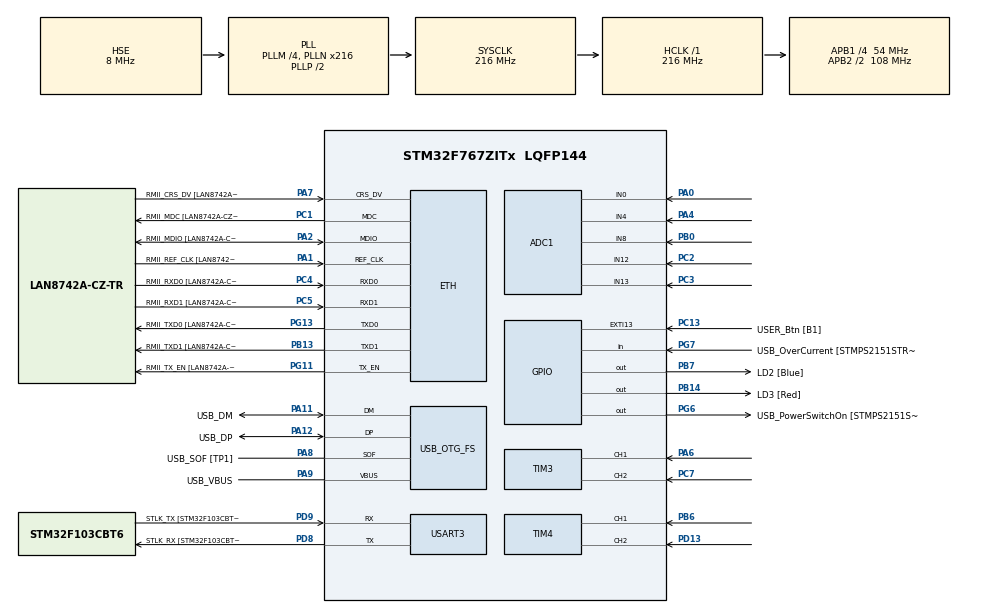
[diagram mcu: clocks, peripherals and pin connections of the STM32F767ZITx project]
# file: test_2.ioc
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ADC1.Channel-1\#ChannelRegularConversion=ADC_CHANNEL_0
ADC1.InjNumberOfConversion=0
ADC1.NbrOfConversionFlag=1
ADC1.Rank-1\#ChannelRegularConversion=1
ADC1.SamplingTime-1\#ChannelRegularConversion=ADC_SAMPLETIME_3CYCLES
ADC1.master=1
CORTEX_M7.default_mode_Activation=1
ETH.MediaInterface=HAL_ETH_RMII_MODE
ETH.PHY_Name=LAN8742A_PHY_ADDRESS
ETH.PHY_Value=0
ETH.PhyAddress=0
LWIP.BSP.number=1
LWIP.IP_ADDRESS=192.168.001.100
LWIP.LWIP_DHCP=0
LWIP.MEM_SIZE=10240
LWIP.NETMASK_ADDRESS=255.255.255.000
LWIP.TCP_SND_BUF=2048
LWIP.TCP_WND=2048
LWIP.Version=v2.1.2_Cube
LWIP0.BSP.STBoard=false
LWIP0.BSP.api=BSP_COMPONENT_DRIVER
LWIP0.BSP.component=LAN8742
LWIP0.BSP.instance=LAN8742
LWIP0.BSP.name=Driver_PHY
LWIP0.BSP.semaphore=S_LAN8742
LWIP0.BSP.solution=LAN8742
Mcu.Family=STM32F7
Mcu.Name=STM32F767ZITx
Mcu.Package=LQFP144
NVIC.PriorityGroup=NVIC_PRIORITYGROUP_4
PA0/WKUP.Signal=ADCx_IN0
PA1.GPIO_Label=RMII_REF_CLK [LAN8742A-CZ-TR_REFCLK0]
PA1.Mode=RMII
PA1.Signal=ETH_REF_CLK
PA10.GPIO_Label=USB_ID
PA10.Signal=USB_OTG_FS_ID
PA11.GPIO_Label=USB_DM
PA11.Mode=Device_Only
PA11.Signal=USB_OTG_FS_DM
PA12.GPIO_Label=USB_DP
PA12.Mode=Device_Only
PA12.Signal=USB_OTG_FS_DP
PA13.GPIO_Label=TMS
PA13.Mode=Serial_Wire
PA13.Signal=SYS_JTMS-SWDIO
PA14.GPIO_Label=TCK
PA14.Mode=Serial_Wire
PA14.Signal=SYS_JTCK-SWCLK
PA2.GPIO_Label=RMII_MDIO [LAN8742A-CZ-TR_MDIO]
PA2.Mode=RMII
PA2.Signal=ETH_MDIO
PA4.Signal=ADCx_IN4
PA6.GPIO_PuPd=GPIO_PULLUP
PA6.Signal=S_TIM3_CH1
PA7.GPIO_Label=RMII_CRS_DV [LAN8742A-CZ-TR_CRS_DV]
PA7.Mode=RMII
PA7.Signal=ETH_CRS_DV
PA8.GPIO_Label=USB_SOF [TP1]
PA8.Mode=Activate_SOF_FS
PA8.Signal=USB_OTG_FS_SOF
PA9.GPIO_Label=USB_VBUS
PA9.Mode=Activate_VBUS
PA9.Signal=USB_OTG_FS_VBUS
PB0.Signal=ADCx_IN8
PB13.GPIO_Label=RMII_TXD1 [LAN8742A-CZ-TR_TXD1]
PB13.Mode=RMII
PB13.Signal=ETH_TXD1
PB14.GPIO_Label=LD3 [Red]
PB14.Signal=GPIO_Output
PB3.GPIO_Label=SWO
PB3.Signal=SYS_JTDO-SWO
PB6.GPIO_PuPd=GPIO_PULLUP
PB6.Signal=S_TIM4_CH1
PB7.GPIO_Label=LD2 [Blue]
PB7.Signal=GPIO_Output
PC1.GPIO_Label=RMII_MDC [LAN8742A-CZ-TR_MDC]
PC1.Mode=RMII
PC1.Signal=ETH_MDC
PC13.GPIO_Label=USER_Btn [B1]
PC13.Signal=GPXTI13
PC14/OSC32_IN.Mode=LSE-External-Oscillator
PC14/OSC32_IN.Signal=RCC_OSC32_IN
PC15/OSC32_OUT.Mode=LSE-External-Oscillator
PC15/OSC32_OUT.Signal=RCC_OSC32_OUT
PC2.Signal=ADCx_IN12
PC3.Signal=ADCx_IN13
PC4.GPIO_Label=RMII_RXD0 [LAN8742A-CZ-TR_RXD0]
PC4.Mode=RMII
PC4.Signal=ETH_RXD0
PC5.GPIO_Label=RMII_RXD1 [LAN8742A-CZ-TR_RXD1]
PC5.Mode=RMII
PC5.Signal=ETH_RXD1
PC7.GPIO_PuPd=GPIO_PULLUP
PC7.Signal=S_TIM3_CH2
PD13.GPIO_PuPd=GPIO_PULLUP
PD13.Signal=S_TIM4_CH2
PD8.GPIO_Label=STLK_RX [STM32F103CBT6_PA3]
PD8.Mode=Asynchronous
PD8.Signal=USART3_TX
PD9.GPIO_Label=STLK_TX [STM32F103CBT6_PA2]
PD9.Mode=Asynchronous
PD9.Signal=USART3_RX
PG11.GPIO_Label=RMII_TX_EN [LAN8742A-CZ-TR_TXEN]
PG11.Mode=RMII
PG11.Signal=ETH_TX_EN
PG13.GPIO_Label=RMII_TXD0 [LAN8742A-CZ-TR_TXD0]
PG13.Mode=RMII
PG13.Signal=ETH_TXD0
PG6.GPIO_Label=USB_PowerSwitchOn [STMPS2151STR_EN]
PG6.Signal=GPIO_Output
PG7.GPIO_Label=USB_OverCurrent [STMPS2151STR_FAULT]
PG7.Signal=GPIO_Input
PH0/OSC_IN.GPIO_Label=MCO [STM32F103CBT6_PA8]
PH0/OSC_IN.Mode=HSE-External-Clock-Source
PH0/OSC_IN.Signal=RCC_OSC_IN
PH1/OSC_OUT.Mode=HSE-External-Clock-Source
PH1/OSC_OUT.Signal=RCC_OSC_OUT
ProjectManager.HeapSize=0x200
ProjectManager.StackSize=0x400
ProjectManager.TargetToolchain=STM32CubeIDE
RCC.48MHZClocksFreq_Value=24000000
RCC.AHBFreq_Value=216000000
RCC.APB1CLKDivider=RCC_HCLK_DIV4
RCC.APB1Freq_Value=54000000
RCC.APB1TimFreq_Value=108000000
RCC.APB2CLKDivider=RCC_HCLK_DIV2
RCC.APB2Freq_Value=108000000
RCC.APB2TimFreq_Value=216000000
RCC.CortexFreq_Value=216000000
RCC.HCLKFreq_Value=216000000
RCC.HSE_VALUE=8000000
RCC.HSI_VALUE=16000000
RCC.PLLM=4
RCC.PLLMUL=RCC_PLL_MUL9
RCC.PLLN=216
RCC.PLLQ=9
RCC.PRESCALERUSB=RCC_USBCLKSOURCE_PLL_DIV1_5
RCC.SYSCLKFreq_VALUE=216000000
RCC.SYSCLKSource=RCC_SYSCLKSOURCE_PLLCLK
RCC.SYSCLKSourceVirtual=RCC_SYSCLKSOURCE_PLLCLK
RCC.USBFreq_Value=48000000
RCC.VCOOutputFreq_Value=432000000
SH.ADCx_IN0.0=ADC1_IN0,IN0
SH.ADCx_IN12.0=ADC1_IN12,IN12
SH.ADCx_IN13.0=ADC1_IN13,IN13
SH.ADCx_IN4.0=ADC1_IN4,IN4
SH.ADCx_IN8.0=ADC1_IN8,IN8
SH.S_TIM3_CH1.0=TIM3_CH1,Encoder_Interface
SH.S_TIM3_CH2.0=TIM3_CH2,Encoder_Interface
SH.S_TIM4_CH1.0=TIM4_CH1,Encoder_Interface
SH.S_TIM4_CH2.0=TIM4_CH2,Encoder_Interface
TIM3.EncoderMode=TIM_ENCODERMODE_TI12
TIM4.EncoderMode=TIM_ENCODERMODE_TI12
USART3.VirtualMode-Asynchronous=VM_ASYNC
USB_OTG_FS.VirtualMode=Device_Only
VP_LWIP_VS_Enabled.Mode=Enabled
board=NUCLEO-F767ZI

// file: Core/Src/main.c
/* USER CODE BEGIN Header */
/**
  ******************************************************************************
  * @file           : main.c
  * @brief          : Main program body
  ******************************************************************************
  * @attention
  *
  * Copyright (c) 2026 STMicroelectronics.
  * All rights reserved.
  *
  * This software is licensed under terms that can be found in the LICENSE file
  * in the root directory of this software component.
  * If no LICENSE file comes with this software, it is provided AS-IS.
  *
  ******************************************************************************
  */
/* USER CODE END Header */
#include "main.h"
#include "lwip.h"

/* USER CODE BEGIN Includes */

#include "udp_server.h"

/* USER CODE END Includes */

ADC_HandleTypeDef hadc1;

TIM_HandleTypeDef htim3;
TIM_HandleTypeDef htim4;

UART_HandleTypeDef huart3;

PCD_HandleTypeDef hpcd_USB_OTG_FS;

/* USER CODE BEGIN PV */

volatile int32_t encoder_position = 0; //right stick
static uint32_t last_tick_ms = 0;
static uint16_t last_timer = 0;

volatile int32_t encoder2_position = 0;     // left stick (TIM4)
static uint16_t last_timer2 = 0;

volatile int32_t accelerator_position = 0;
volatile int32_t brake_position = 0;
volatile int32_t clutch_position = 0;

static uint32_t accel_filtered = 0;
static uint32_t brake_filtered = 0;
static uint32_t clutch_filtered = 0;

static uint8_t accel_filter_init = 0;
static uint8_t brake_filter_init = 0;
static uint8_t clutch_filter_init = 0;

/* Adjust these raw ADC values to your actual hardware pedal endpoints */
#define ACCEL_ADC_MIN   3740
#define ACCEL_ADC_MAX   260

#define BRAKE_ADC_MIN   3720
#define BRAKE_ADC_MAX   1150

#define CLUTCH_ADC_MIN  3720
#define CLUTCH_ADC_MAX  300

/* Tiller calibration — placeholder values, replace after calibration */
#define RIGHT_STICK_MIN   0
#define RIGHT_STICK_MAX   480

#define LEFT_STICK_MIN    0
#define LEFT_STICK_MAX    -480

/* Final scaled values sent over UDP */
volatile float right_stick_scaled = 0.0f;
volatile float left_stick_scaled  = 0.0f;
volatile float accelerator_scaled = 0.0f;
volatile float brake_scaled = 0.0f;
volatile float clutch_scaled = 0.0f;

volatile int32_t gearbox_x = 0;   // back pot — left/right column
volatile int32_t gearbox_y = 0;   // side pot — front/back row

static uint32_t x_filtered = 0;
static uint32_t y_filtered = 0;
static uint8_t x_filter_init = 0;
static uint8_t y_filter_init = 0;

volatile int32_t current_gear = 0;   // final gear output: -1=R, 0=N, 1-5=gears

/* Calibration placeholders — measured raw values at each gear position */
#define X_LEFT_RAW     1100     // X raw value (back pot) when stick is at LEFT column (3/2)
#define X_CENTER_RAW   1825    // X raw value (back pot) when stick is at CENTER column (R/1)
#define X_RIGHT_RAW    2890    // X raw value (back pot) when stick is at RIGHT column (4/5)

#define Y_TOP_RAW      3525    // Y raw value (side pot) when stick is pulled BACK (3/R/4)
#define Y_NEUTRAL_RAW  1980    // Y raw value (side pot) when stick is at NEUTRAL row
#define Y_BOTTOM_RAW   440    // Y raw value (side pot) when stick is pushed FORWARD (2/1/5)

#define ZONE_TOLERANCE    400     // +/- range around each raw value to still count as "in zone"

/* USER CODE END PV */

void SystemClock_Config(void);
static void MPU_Config(void);
static void MX_GPIO_Init(void);
static void MX_USART3_UART_Init(void);
static void MX_USB_OTG_FS_PCD_Init(void);
static void MX_TIM3_Init(void);
static void MX_ADC1_Init(void);
static void MX_TIM4_Init(void);
/* USER CODE BEGIN PFP */
static float scale_to_0_1(int32_t raw, int32_t min_val, int32_t max_val);
static float read_adc_pedal_0_1(uint32_t channel, uint32_t *filtered, uint8_t *filter_init,
                                 int32_t min_val, int32_t max_val, int32_t *raw_out);
static int32_t compute_gear(int32_t side_raw, int32_t back_raw);
static int32_t read_adc_raw_filtered(uint32_t channel, uint32_t *filtered, uint8_t *filter_init);

/* USER CODE END PFP */

/* USER CODE BEGIN 0 */

/**
  * @brief  Reads ADC channel, applies moving average filter, and returns scaled float [0.0, 1.0].
  */
static float read_adc_pedal_0_1(uint32_t channel, uint32_t *filtered, uint8_t *filter_init,
                                 int32_t min_val, int32_t max_val, int32_t *raw_out)
{
    ADC_ChannelConfTypeDef sConfig = {0};
    sConfig.Channel = channel;
    sConfig.Rank = ADC_REGULAR_RANK_1;
    sConfig.SamplingTime = ADC_SAMPLETIME_56CYCLES;
    HAL_ADC_ConfigChannel(&hadc1, &sConfig);

    HAL_ADC_Start(&hadc1);
    HAL_ADC_PollForConversion(&hadc1, 10);
    uint32_t raw = HAL_ADC_GetValue(&hadc1);
    HAL_ADC_Stop(&hadc1);

    if (!(*filter_init)) {
        *filtered = raw;
        *filter_init = 1;
    } else {
        *filtered = *filtered + ((int32_t)raw - (int32_t)(*filtered)) / 3;
    }

    int32_t clamped = (int32_t)(*filtered);
    *raw_out = clamped;

    if (max_val == min_val) return 0.0f;

    float norm;
    // Handle inverted ADC polarity (when fully pressed yields a lower raw value)
    if (min_val > max_val) {
        if (clamped > min_val) clamped = min_val;
        if (clamped < max_val) clamped = max_val;
        norm = (float)(min_val - clamped) / (float)(min_val - max_val);
    } else {
        if (clamped < min_val) clamped = min_val;
        if (clamped > max_val) clamped = max_val;
        norm = (float)(clamped - min_val) / (float)(max_val - min_val);
    }

    if (norm < 0.0f) norm = 0.0f;
    if (norm > 1.0f) norm = 1.0f;

    return norm;
}

/**
  * @brief Scales input integer to [-1.0, 1.0] range (used for sticks/encoders).
  */
static float scale_to_0_1(int32_t raw, int32_t min_val, int32_t max_val)
{
    if (max_val == min_val) return 0.0f; // Prevent divide by zero

    int32_t clamped = raw;
    float norm;

    if (min_val <= max_val) {
        if (clamped < min_val) clamped = min_val;
        if (clamped > max_val) clamped = max_val;
        norm = (float)(clamped - min_val) / (float)(max_val - min_val);
    } else {
        // Inverted range (e.g. LEFT_STICK_MAX < LEFT_STICK_MIN)
        if (clamped > min_val) clamped = min_val;
        if (clamped < max_val) clamped = max_val;
        norm = (float)(min_val - clamped) / (float)(min_val - max_val);
    }

    if (norm < 0.0f) norm = 0.0f;
    if (norm > 1.0f) norm = 1.0f;

    return norm;
}

static int32_t compute_gear(int32_t x_raw, int32_t y_raw)
{
    int col;
    if (abs(x_raw - X_LEFT_RAW) < ZONE_TOLERANCE) col = -1;
    else if (abs(x_raw - X_CENTER_RAW) < ZONE_TOLERANCE) col = 0;
    else if (abs(x_raw - X_RIGHT_RAW) < ZONE_TOLERANCE) col = 1;
    else col = 0;

    int row;
    if (abs(y_raw - Y_TOP_RAW) < ZONE_TOLERANCE) row = -1;
    else if (abs(y_raw - Y_NEUTRAL_RAW) < ZONE_TOLERANCE) row = 0;
    else if (abs(y_raw - Y_BOTTOM_RAW) < ZONE_TOLERANCE) row = 1;
    else row = 0;

    if (row == 0) return 0;

    if (row == -1) {
        if (col == -1) return 3;
        if (col == 0)  return 6;
        if (col == 1)  return 4;
    }

    if (row == 1) {
        if (col == -1) return 2;
        if (col == 0)  return 1;
        if (col == 1)  return 5;
    }

    return 0;
}

static int32_t read_adc_raw_filtered(uint32_t channel, uint32_t *filtered, uint8_t *filter_init)
{
    ADC_ChannelConfTypeDef sConfig = {0};
    sConfig.Channel = channel;
    sConfig.Rank = 1;
    sConfig.SamplingTime = ADC_SAMPLETIME_56CYCLES;
    HAL_ADC_ConfigChannel(&hadc1, &sConfig);

    HAL_ADC_Start(&hadc1);
    HAL_ADC_PollForConversion(&hadc1, 10);
    uint32_t raw = HAL_ADC_GetValue(&hadc1);
    HAL_ADC_Stop(&hadc1);

    if (!(*filter_init)) {
        *filtered = raw;
        *filter_init = 1;
    } else {
        *filtered = *filtered + ((int32_t)raw - (int32_t)(*filtered)) / 3;
    }

    return (int32_t)(*filtered);
}

/* USER CODE END 0 */

int main(void)
{

  /* MPU Configuration--------------------------------------------------------*/
  MPU_Config();

  /* MCU Configuration--------------------------------------------------------*/

  /* Reset of all peripherals, Initializes the Flash interface and the Systick. */
  HAL_Init();

  /* Configure the system clock */
  SystemClock_Config();

  /* Initialize all configured peripherals */
  MX_GPIO_Init();
  MX_USART3_UART_Init();
  MX_USB_OTG_FS_PCD_Init();
  MX_TIM3_Init();
  MX_LWIP_Init();
  MX_ADC1_Init();
  MX_TIM4_Init();
  /* USER CODE BEGIN 2 */
  HAL_Delay(500);
  HAL_TIM_Encoder_Start(&htim3, TIM_CHANNEL_ALL); // right
  HAL_TIM_Encoder_Start(&htim4, TIM_CHANNEL_ALL); // left
  last_timer = (uint16_t)__HAL_TIM_GET_COUNTER(&htim3);
  last_timer2 = (uint16_t)__HAL_TIM_GET_COUNTER(&htim4);
  last_tick_ms = HAL_GetTick();
  udp_server_init();
  /* USER CODE END 2 */

  /* Infinite loop */
  while (1)
  {

    /* USER CODE BEGIN 3 */
      MX_LWIP_Process();

      uint32_t now = HAL_GetTick();
      if ((now - last_tick_ms) >= 10)
      {
          uint16_t current_timer = (uint16_t)__HAL_TIM_GET_COUNTER(&htim3);
          int16_t delta = (int16_t)(current_timer - last_timer);
          encoder_position += (int32_t)delta;
          last_timer = current_timer;

          uint16_t current_timer2 = (uint16_t)__HAL_TIM_GET_COUNTER(&htim4);
          int16_t delta2 = (int16_t)(current_timer2 - last_timer2);
          encoder2_position += (int32_t)delta2;
          last_timer2 = current_timer2;

          last_tick_ms = now;

          /* Read Pedals (Outputs [0.0, 1.0] float directly) */
          /* Note: ADC_CHANNEL_8 corresponds to PB0 pin for Brake */
          accelerator_scaled = read_adc_pedal_0_1(ADC_CHANNEL_0, &accel_filtered, &accel_filter_init,
                                                  ACCEL_ADC_MIN, ACCEL_ADC_MAX, (int32_t*)&accelerator_position);

          brake_scaled       = read_adc_pedal_0_1(ADC_CHANNEL_8, &brake_filtered, &brake_filter_init,
                                                  BRAKE_ADC_MIN, BRAKE_ADC_MAX, (int32_t*)&brake_position);

          clutch_scaled      = read_adc_pedal_0_1(ADC_CHANNEL_4, &clutch_filtered, &clutch_filter_init,
                                                  CLUTCH_ADC_MIN, CLUTCH_ADC_MAX, (int32_t*)&clutch_position);

          /* Read Sticks (Outputs [-1.0, 1.0] float) */
          right_stick_scaled = scale_to_0_1(encoder_position, RIGHT_STICK_MIN, RIGHT_STICK_MAX);
          left_stick_scaled  = scale_to_0_1(encoder2_position, LEFT_STICK_MIN, LEFT_STICK_MAX);

          gearbox_x = read_adc_raw_filtered(ADC_CHANNEL_13, &x_filtered, &x_filter_init);   // back pot → X
          gearbox_y = read_adc_raw_filtered(ADC_CHANNEL_12, &y_filtered, &y_filter_init);   // side pot → Y

          current_gear = compute_gear(gearbox_x, gearbox_y);

          udp_server_send_position();

          char dbg3[176];
                    int dbg3_len = snprintf(dbg3, sizeof(dbg3),
                        "Acc:%.2f (Raw:%ld) Brk:%.2f (Raw:%ld) Clt:%.2f (Raw:%ld) "
                        "X:%ld Y:%ld Gear:%ld RT:%.2f (Raw:%ld) LT:%.2f (Raw:%ld)\r\n",
                        accelerator_scaled, accelerator_position,
                        brake_scaled, brake_position,
                        clutch_scaled, clutch_position,
                        gearbox_x, gearbox_y, current_gear,
                        right_stick_scaled, encoder_position,
                        left_stick_scaled, encoder2_position);
                    HAL_UART_Transmit(&huart3, (uint8_t*)dbg3, dbg3_len, 100);
      }
  /* USER CODE END 3 */
}
}

void SystemClock_Config(void)
{
  RCC_OscInitTypeDef RCC_OscInitStruct = {0};
  RCC_ClkInitTypeDef RCC_ClkInitStruct = {0};

  /** Configure LSE Drive Capability
  */
  HAL_PWR_EnableBkUpAccess();

  /** Configure the main internal regulator output voltage
  */
  __HAL_RCC_PWR_CLK_ENABLE();
  __HAL_PWR_VOLTAGESCALING_CONFIG(PWR_REGULATOR_VOLTAGE_SCALE1);

  /** Initializes the RCC Oscillators according to the specified parameters
  * in the RCC_OscInitTypeDef structure.
  */
  RCC_OscInitStruct.OscillatorType = RCC_OSCILLATORTYPE_HSE;
  RCC_OscInitStruct.HSEState = RCC_HSE_BYPASS;
  RCC_OscInitStruct.PLL.PLLState = RCC_PLL_ON;
  RCC_OscInitStruct.PLL.PLLSource = RCC_PLLSOURCE_HSE;
  RCC_OscInitStruct.PLL.PLLM = 4;
  RCC_OscInitStruct.PLL.PLLN = 216;
  RCC_OscInitStruct.PLL.PLLP = RCC_PLLP_DIV2;
  RCC_OscInitStruct.PLL.PLLQ = 9;
  RCC_OscInitStruct.PLL.PLLR = 2;
  if (HAL_RCC_OscConfig(&RCC_OscInitStruct) != HAL_OK)
  {
    Error_Handler();
  }

  /** Activate the Over-Drive mode
  */
  if (HAL_PWREx_EnableOverDrive() != HAL_OK)
  {
    Error_Handler();
  }

  /** Initializes the CPU, AHB and APB buses clocks
  */
  RCC_ClkInitStruct.ClockType = RCC_CLOCKTYPE_HCLK|RCC_CLOCKTYPE_SYSCLK
                              |RCC_CLOCKTYPE_PCLK1|RCC_CLOCKTYPE_PCLK2;
  RCC_ClkInitStruct.SYSCLKSource = RCC_SYSCLKSOURCE_PLLCLK;
  RCC_ClkInitStruct.AHBCLKDivider = RCC_SYSCLK_DIV1;
  RCC_ClkInitStruct.APB1CLKDivider = RCC_HCLK_DIV4;
  RCC_ClkInitStruct.APB2CLKDivider = RCC_HCLK_DIV2;

  if (HAL_RCC_ClockConfig(&RCC_ClkInitStruct, FLASH_LATENCY_7) != HAL_OK)
  {
    Error_Handler();
  }
}

static void MX_ADC1_Init(void)
{

  ADC_ChannelConfTypeDef sConfig = {0};

  /** Configure the global features of the ADC (Clock, Resolution, Data Alignment and number of conversion)
  */
  hadc1.Instance = ADC1;
  hadc1.Init.ClockPrescaler = ADC_CLOCK_SYNC_PCLK_DIV4;
  hadc1.Init.Resolution = ADC_RESOLUTION_12B;
  hadc1.Init.ScanConvMode = ADC_SCAN_DISABLE;
  hadc1.Init.ContinuousConvMode = DISABLE;
  hadc1.Init.DiscontinuousConvMode = DISABLE;
  hadc1.Init.ExternalTrigConvEdge = ADC_EXTERNALTRIGCONVEDGE_NONE;
  hadc1.Init.ExternalTrigConv = ADC_SOFTWARE_START;
  hadc1.Init.DataAlign = ADC_DATAALIGN_RIGHT;
  hadc1.Init.NbrOfConversion = 1;
  hadc1.Init.DMAContinuousRequests = DISABLE;
  hadc1.Init.EOCSelection = ADC_EOC_SINGLE_CONV;
  if (HAL_ADC_Init(&hadc1) != HAL_OK)
  {
    Error_Handler();
  }

  /** Configure for the selected ADC regular channel its corresponding rank in the sequencer and its sample time.
  */
  sConfig.Channel = ADC_CHANNEL_0;
  sConfig.Rank = ADC_REGULAR_RANK_1;
  sConfig.SamplingTime = ADC_SAMPLETIME_3CYCLES;
  if (HAL_ADC_ConfigChannel(&hadc1, &sConfig) != HAL_OK)
  {
    Error_Handler();
  }

}

static void MX_TIM3_Init(void)
{

  TIM_Encoder_InitTypeDef sConfig = {0};
  TIM_MasterConfigTypeDef sMasterConfig = {0};

  htim3.Instance = TIM3;
  htim3.Init.Prescaler = 0;
  htim3.Init.CounterMode = TIM_COUNTERMODE_UP;
  htim3.Init.Period = 65535;
  htim3.Init.ClockDivision = TIM_CLOCKDIVISION_DIV1;
  htim3.Init.AutoReloadPreload = TIM_AUTORELOAD_PRELOAD_DISABLE;
  sConfig.EncoderMode = TIM_ENCODERMODE_TI12;
  sConfig.IC1Polarity = TIM_ICPOLARITY_RISING;
  sConfig.IC1Selection = TIM_ICSELECTION_DIRECTTI;
  sConfig.IC1Prescaler = TIM_ICPSC_DIV1;
  sConfig.IC1Filter = 0;
  sConfig.IC2Polarity = TIM_ICPOLARITY_RISING;
  sConfig.IC2Selection = TIM_ICSELECTION_DIRECTTI;
  sConfig.IC2Prescaler = TIM_ICPSC_DIV1;
  sConfig.IC2Filter = 0;
  if (HAL_TIM_Encoder_Init(&htim3, &sConfig) != HAL_OK)
  {
    Error_Handler();
  }
  sMasterConfig.MasterOutputTrigger = TIM_TRGO_RESET;
  sMasterConfig.MasterSlaveMode = TIM_MASTERSLAVEMODE_DISABLE;
  if (HAL_TIMEx_MasterConfigSynchronization(&htim3, &sMasterConfig) != HAL_OK)
  {
    Error_Handler();
  }

}

static void MX_TIM4_Init(void)
{

  TIM_Encoder_InitTypeDef sConfig = {0};
  TIM_MasterConfigTypeDef sMasterConfig = {0};

  htim4.Instance = TIM4;
  htim4.Init.Prescaler = 0;
  htim4.Init.CounterMode = TIM_COUNTERMODE_UP;
  htim4.Init.Period = 65535;
  htim4.Init.ClockDivision = TIM_CLOCKDIVISION_DIV1;
  htim4.Init.AutoReloadPreload = TIM_AUTORELOAD_PRELOAD_DISABLE;
  sConfig.EncoderMode = TIM_ENCODERMODE_TI12;
  sConfig.IC1Polarity = TIM_ICPOLARITY_RISING;
  sConfig.IC1Selection = TIM_ICSELECTION_DIRECTTI;
  sConfig.IC1Prescaler = TIM_ICPSC_DIV1;
  sConfig.IC1Filter = 0;
  sConfig.IC2Polarity = TIM_ICPOLARITY_RISING;
  sConfig.IC2Selection = TIM_ICSELECTION_DIRECTTI;
  sConfig.IC2Prescaler = TIM_ICPSC_DIV1;
  sConfig.IC2Filter = 0;
  if (HAL_TIM_Encoder_Init(&htim4, &sConfig) != HAL_OK)
  {
    Error_Handler();
  }
  sMasterConfig.MasterOutputTrigger = TIM_TRGO_RESET;
  sMasterConfig.MasterSlaveMode = TIM_MASTERSLAVEMODE_DISABLE;
  if (HAL_TIMEx_MasterConfigSynchronization(&htim4, &sMasterConfig) != HAL_OK)
  {
    Error_Handler();
  }

}

static void MX_USART3_UART_Init(void)
{

  huart3.Instance = USART3;
  huart3.Init.BaudRate = 115200;
  huart3.Init.WordLength = UART_WORDLENGTH_8B;
  huart3.Init.StopBits = UART_STOPBITS_1;
  huart3.Init.Parity = UART_PARITY_NONE;
  huart3.Init.Mode = UART_MODE_TX_RX;
  huart3.Init.HwFlowCtl = UART_HWCONTROL_NONE;
  huart3.Init.OverSampling = UART_OVERSAMPLING_16;
  huart3.Init.OneBitSampling = UART_ONE_BIT_SAMPLE_DISABLE;
  huart3.AdvancedInit.AdvFeatureInit = UART_ADVFEATURE_NO_INIT;
  if (HAL_UART_Init(&huart3) != HAL_OK)
  {
    Error_Handler();
  }

}

static void MX_USB_OTG_FS_PCD_Init(void)
{

  hpcd_USB_OTG_FS.Instance = USB_OTG_FS;
  hpcd_USB_OTG_FS.Init.dev_endpoints = 6;
  hpcd_USB_OTG_FS.Init.speed = PCD_SPEED_FULL;
  hpcd_USB_OTG_FS.Init.dma_enable = DISABLE;
  hpcd_USB_OTG_FS.Init.phy_itface = PCD_PHY_EMBEDDED;
  hpcd_USB_OTG_FS.Init.Sof_enable = ENABLE;
  hpcd_USB_OTG_FS.Init.low_power_enable = DISABLE;
  hpcd_USB_OTG_FS.Init.lpm_enable = DISABLE;
  hpcd_USB_OTG_FS.Init.vbus_sensing_enable = ENABLE;
  hpcd_USB_OTG_FS.Init.use_dedicated_ep1 = DISABLE;
  if (HAL_PCD_Init(&hpcd_USB_OTG_FS) != HAL_OK)
  {
    Error_Handler();
  }

}

static void MX_GPIO_Init(void)
{
  GPIO_InitTypeDef GPIO_InitStruct = {0};

  /* GPIO Ports Clock Enable */
  __HAL_RCC_GPIOC_CLK_ENABLE();
  __HAL_RCC_GPIOH_CLK_ENABLE();
  __HAL_RCC_GPIOA_CLK_ENABLE();
  __HAL_RCC_GPIOB_CLK_ENABLE();
  __HAL_RCC_GPIOD_CLK_ENABLE();
  __HAL_RCC_GPIOG_CLK_ENABLE();

  /*Configure GPIO pin Output Level */
  HAL_GPIO_WritePin(GPIOB, LD3_Pin|LD2_Pin, GPIO_PIN_RESET);

  /*Configure GPIO pin Output Level */
  HAL_GPIO_WritePin(USB_PowerSwitchOn_GPIO_Port, USB_PowerSwitchOn_Pin, GPIO_PIN_RESET);

  /*Configure GPIO pin : USER_Btn_Pin */
  GPIO_InitStruct.Pin = USER_Btn_Pin;
  GPIO_InitStruct.Mode = GPIO_MODE_IT_RISING;
  GPIO_InitStruct.Pull = GPIO_NOPULL;
  HAL_GPIO_Init(USER_Btn_GPIO_Port, &GPIO_InitStruct);

  /*Configure GPIO pins : LD3_Pin LD2_Pin */
  GPIO_InitStruct.Pin = LD3_Pin|LD2_Pin;
  GPIO_InitStruct.Mode = GPIO_MODE_OUTPUT_PP;
  GPIO_InitStruct.Pull = GPIO_NOPULL;
  GPIO_InitStruct.Speed = GPIO_SPEED_FREQ_LOW;
  HAL_GPIO_Init(GPIOB, &GPIO_InitStruct);

  /*Configure GPIO pin : USB_PowerSwitchOn_Pin */
  GPIO_InitStruct.Pin = USB_PowerSwitchOn_Pin;
  GPIO_InitStruct.Mode = GPIO_MODE_OUTPUT_PP;
  GPIO_InitStruct.Pull = GPIO_NOPULL;
  GPIO_InitStruct.Speed = GPIO_SPEED_FREQ_LOW;
  HAL_GPIO_Init(USB_PowerSwitchOn_GPIO_Port, &GPIO_InitStruct);

  /*Configure GPIO pin : USB_OverCurrent_Pin */
  GPIO_InitStruct.Pin = USB_OverCurrent_Pin;
  GPIO_InitStruct.Mode = GPIO_MODE_INPUT;
  GPIO_InitStruct.Pull = GPIO_NOPULL;
  HAL_GPIO_Init(USB_OverCurrent_GPIO_Port, &GPIO_InitStruct);

  /* USER CODE BEGIN MX_GPIO_Init_2 */

  GPIO_InitStruct.Pin = GPIO_PIN_4;
  GPIO_InitStruct.Mode = GPIO_MODE_ANALOG;
  GPIO_InitStruct.Pull = GPIO_NOPULL;
  HAL_GPIO_Init(GPIOA, &GPIO_InitStruct);

  GPIO_InitStruct.Pin = GPIO_PIN_0;
  GPIO_InitStruct.Mode = GPIO_MODE_ANALOG;
  GPIO_InitStruct.Pull = GPIO_NOPULL;
  HAL_GPIO_Init(GPIOB, &GPIO_InitStruct);

  /* USER CODE END MX_GPIO_Init_2 */
}

 /* MPU Configuration */

void MPU_Config(void)
{
  MPU_Region_InitTypeDef MPU_InitStruct = {0};

  /* Disables the MPU */
  HAL_MPU_Disable();

  /** Initializes and configures the Region and the memory to be protected
  */
  MPU_InitStruct.Enable = MPU_REGION_ENABLE;
  MPU_InitStruct.Number = MPU_REGION_NUMBER0;
  MPU_InitStruct.BaseAddress = 0x0;
  MPU_InitStruct.Size = MPU_REGION_SIZE_4GB;
  MPU_InitStruct.SubRegionDisable = 0x87;
  MPU_InitStruct.TypeExtField = MPU_TEX_LEVEL0;
  MPU_InitStruct.AccessPermission = MPU_REGION_NO_ACCESS;
  MPU_InitStruct.DisableExec = MPU_INSTRUCTION_ACCESS_DISABLE;
  MPU_InitStruct.IsShareable = MPU_ACCESS_SHAREABLE;
  MPU_InitStruct.IsCacheable = MPU_ACCESS_NOT_CACHEABLE;
  MPU_InitStruct.IsBufferable = MPU_ACCESS_NOT_BUFFERABLE;

  HAL_MPU_ConfigRegion(&MPU_InitStruct);
  /* Enables the MPU */
  HAL_MPU_Enable(MPU_PRIVILEGED_DEFAULT);

}

void Error_Handler(void)
{
  __disable_irq();
  while (1)
  {
  }
}
